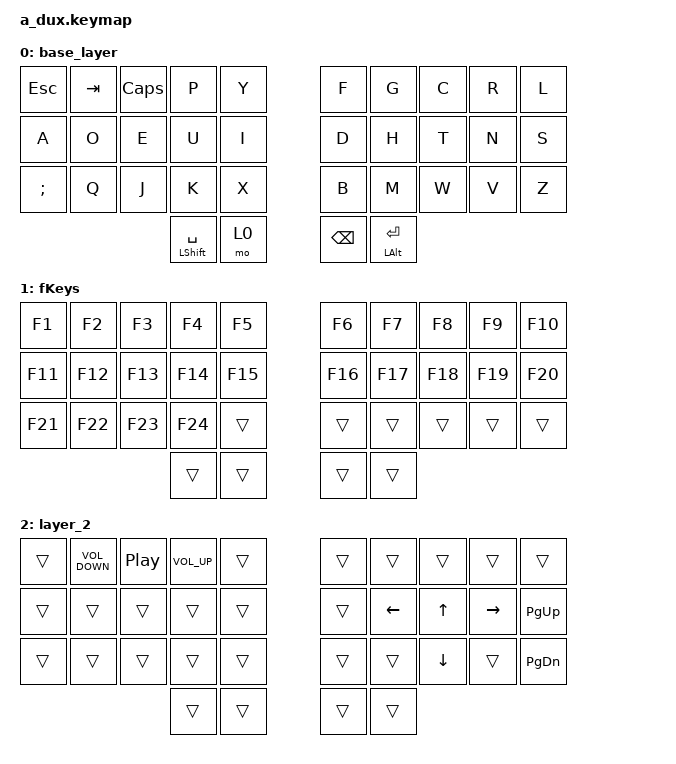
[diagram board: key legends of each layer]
/*
 * Copyright (c) 2021 The ZMK Contributors
 *
 * SPDX-License-Identifier: MIT
 */

#include <behaviors.dtsi>
#include <dt-bindings/zmk/keys.h>

/ {
    combos {
        compatible = "zmk,combos";

        ctrl {
            bindings = <&kp LEFT_CONTROL>;
            key-positions = <33 32>;
        };

        gui {
            bindings = <&kp LEFT_GUI>;
            key-positions = <30 31>;
        };

        excl {
            bindings = <&kp EXCLAMATION>;
            key-positions = <24>;
        };

        at {
            bindings = <&kp AT_SIGN>;
            key-positions = <24>;
        };

        hash {
            bindings = <&kp HASH>;
            key-positions = <24>;
        };

        dollar {
            bindings = <&kp DOLLAR>;
            key-positions = <24>;
        };

        percent {
            bindings = <&kp PERCENT>;
            key-positions = <24>;
        };

        caret {
            bindings = <&kp CARET>;
            key-positions = <24>;
        };

        amps {
            bindings = <&kp AMPS>;
            key-positions = <24>;
        };

        asterisk {
            bindings = <&kp ASTRK>;
            key-positions = <24>;
        };

        lpar {
            bindings = <&kp LEFT_PARENTHESIS>;
            key-positions = <24>;
        };

        test {
            bindings = <&kp RIGHT_PARENTHESIS>;
            key-positions = <24>;
        };

        eqaul {
            bindings = <&kp EQUAL>;
            key-positions = <24>;
        };

        plus {
            bindings = <&kp PLUS>;
            key-positions = <24>;
        };

        minus {
            bindings = <&kp MINUS>;
            key-positions = <24>;
        };

        under {
            bindings = <&kp UNDERSCORE>;
            key-positions = <24>;
        };

        fslh {
            bindings = <&kp SLASH>;
            key-positions = <24>;
        };

        qmark {
            bindings = <&kp QUESTION>;
            key-positions = <24>;
        };

        bslh {
            bindings = <&kp BACKSLASH>;
            key-positions = <24>;
        };

        pipe {
            bindings = <&kp PIPE>;
            key-positions = <24>;
        };

        semi {
            bindings = <&kp SEMI>;
            key-positions = <24>;
        };

        colon {
            bindings = <&kp COLON>;
            key-positions = <24>;
        };

        apos {
            bindings = <&kp APOS>;
            key-positions = <24>;
        };

        dqt {
            bindings = <&kp DOUBLE_QUOTES>;
            key-positions = <24>;
        };

        comma {
            bindings = <&kp COMMA>;
            key-positions = <24>;
        };

        lt {
            bindings = <&kp LESS_THAN>;
            key-positions = <24>;
        };

        period {
            bindings = <&kp PERIOD>;
            key-positions = <24>;
        };

        gt {
            bindings = <&kp GREATER_THAN>;
            key-positions = <24>;
        };

        lbkt {
            bindings = <&kp LEFT_BRACKET>;
            key-positions = <24>;
        };

        lbrc {
            bindings = <&kp LEFT_BRACE>;
            key-positions = <24>;
        };

        rbkt {
            bindings = <&kp RIGHT_BRACKET>;
            key-positions = <24>;
        };

        rbrc {
            bindings = <&kp LEFT_BRACE>;
            key-positions = <24>;
        };

        grave {
            bindings = <&kp GRAVE>;
            key-positions = <24>;
        };

        tilde {
            bindings = <&kp TILDE>;
            key-positions = <24>;
        };
    };

    keymap {
        compatible = "zmk,keymap";

        // This is a sample keymap intended to be replaced with your own

        base_layer {
            bindings = <
&kp ESC   &kp TAB  &kp CAPS  &kp P  &kp Y                                         &kp F               &kp G  &kp C  &kp R  &kp L
&kp A     &kp O    &kp E     &kp U  &kp I                                         &kp D               &kp H  &kp T  &kp N  &kp S
&kp SEMI  &kp Q    &kp J     &kp K  &kp X                                         &kp B               &kp M  &kp W  &kp V  &kp Z
                                    &mt LEFT_SHIFT SPACE  &mo 0    &kp BACKSPACE  &mt LEFT_ALT ENTER
            >;
        };

        fKeys {
            bindings = <
&kp F1   &kp F2   &kp F3   &kp F4   &kp F5                     &kp F6   &kp F7   &kp F8   &kp F9   &kp F10
&kp F11  &kp F12  &kp F13  &kp F14  &kp F15                    &kp F16  &kp F17  &kp F18  &kp F19  &kp F20
&kp F21  &kp F22  &kp F23  &kp F24  &trans                     &trans   &trans   &trans   &trans   &trans
                                    &trans   &trans    &trans  &trans
            >;
        };

        layer_2 {
            bindings = <
&trans  &kp C_VOLUME_DOWN  &kp C_PLAY_PAUSE  &kp C_VOLUME_UP  &trans                    &trans  &trans    &trans          &trans     &trans
&trans  &trans             &trans            &trans           &trans                    &trans  &kp LEFT  &kp UP_ARROW    &kp RIGHT  &kp PAGE_UP
&trans  &trans             &trans            &trans           &trans                    &trans  &trans    &kp DOWN_ARROW  &trans     &kp PAGE_DOWN
                                                              &trans  &trans    &trans  &trans
            >;
        };
    };
};
